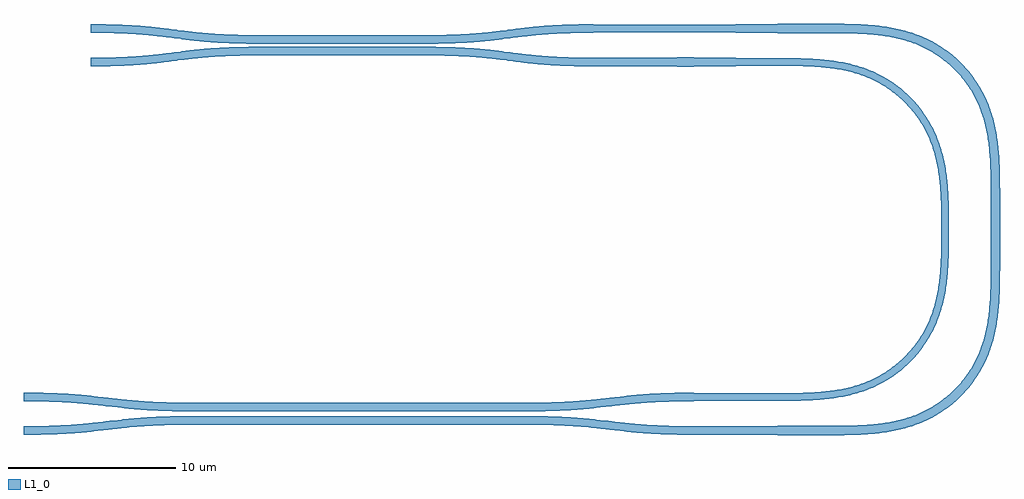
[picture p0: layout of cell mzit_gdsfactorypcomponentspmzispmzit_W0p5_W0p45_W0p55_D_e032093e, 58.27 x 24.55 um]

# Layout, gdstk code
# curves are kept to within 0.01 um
from math import pi, radians
import gdstk
lib = gdstk.Library(unit=1e-6, precision=1e-09)
def R(c, l, rs):  # rectangles x0, y0, x1, y1
    for r in rs: c.add(gdstk.rectangle(r[:2], r[2:], *l))
def P(c, l, *ps):  # polygons
    for p in ps: c.add(gdstk.Polygon(p, *l))
L1_0 = (1, 0)

coupler_gdsfactorypcompo = lib.new_cell('coupler_gdsfactorypcomponentspcouplerspcoupler_G0p3_L20_ef80439e')
P(coupler_gdsfactorypcompo, L1_0, [(-10,-0.85),(-10,-0.35),(-8.622,-0.333),(-7.391,-0.28),(-6.209,-0.185),(-4.09,0.057),(-3.223,0.138),(-1.876,0.217),(-0.59,0.247),(20.152,0.25),(21.135,0.239),(22.431,0.191),(23.406,0.123),(26.209,-0.185),(27.193,-0.267),(28.622,-0.333),(30,-0.35),(30,-0.85),(28.735,-0.836),(27.361,-0.779),(26.244,-0.691),(23.956,-0.432),(22.903,-0.34),(21.501,-0.271),(20.151,-0.25),(-0.151,-0.25),(-1.125,-0.261),(-2.298,-0.303),(-3.274,-0.368),(-4.117,-0.449),(-6.075,-0.674),(-7.16,-0.766),(-8.484,-0.829)],
  [(-0.152,0.55),(-1.876,0.583),(-3.035,0.648),(-4.09,0.743),(-6.209,0.985),(-7.391,1.08),(-8.622,1.133),(-10,1.15),(-10,1.65),(-8.735,1.636),(-7.361,1.579),(-6.244,1.491),(-3.956,1.232),(-2.903,1.14),(-1.501,1.071),(-0.151,1.05),(20.151,1.05),(21.125,1.061),(22.298,1.103),(23.274,1.168),(24.117,1.249),(26.075,1.474),(27.16,1.566),(28.484,1.629),(30,1.65),(30,1.15),(28.622,1.133),(27.193,1.067),(26.044,0.968),(23.583,0.693),(22.639,0.621),(21.876,0.583),(20.152,0.55)])

taper_gdsfactorypcompone = lib.new_cell('taper_gdsfactorypcomponentsptapersptaper_L5_W0p5_W0p45__69eccf19')
P(taper_gdsfactorypcompone, L1_0, [(0,-0.25),(0,0.25),(5,0.225),(5,-0.225)])

bend_euler_gdsfactorypco = lib.new_cell('bend_euler_gdsfactorypcomponentspbendspbend_euler_RNone_ca983cd9')
P(bend_euler_gdsfactorypco, L1_0, [(0,-0.225),(0,0.225),(1.656,0.244),(2.34,0.28),(3.019,0.344),(3.558,0.421),(4.09,0.525),(4.613,0.659),(4.998,0.782),(5.375,0.926),(5.742,1.091),(6.099,1.277),(6.444,1.484),(6.991,1.873),(7.299,2.131),(7.592,2.408),(7.869,2.701),(8.127,3.009),(8.516,3.556),(8.723,3.901),(8.909,4.258),(9.074,4.625),(9.218,5.002),(9.341,5.387),(9.475,5.91),(9.579,6.442),(9.656,6.981),(9.72,7.66),(9.756,8.344),(9.775,10),(10.225,10),(10.21,8.468),(10.178,7.768),(10.133,7.208),(9.999,6.229),(9.882,5.673),(9.773,5.261),(9.643,4.854),(9.434,4.322),(9.25,3.934),(9.044,3.557),(8.817,3.194),(8.568,2.844),(8.299,2.51),(7.911,2.089),(7.49,1.701),(7.156,1.432),(6.806,1.183),(6.443,0.956),(6.066,0.75),(5.678,0.566),(5.146,0.357),(4.739,0.227),(4.327,0.118),(3.771,0.001),(2.792,-0.133),(2.232,-0.178),(1.532,-0.21)])

c_taper_gdsfactorypcompone = lib.new_cell('taper_gdsfactorypcomponentsptapersptaper_L5_W0p45_W0p55_0c13ccff')
P(c_taper_gdsfactorypcompone, L1_0, [(5,-0.275),(0,-0.225),(0,0.225),(5,0.275)])

straight_gdsfactorypcomp = lib.new_cell('straight_gdsfactorypcomponentspwaveguidespstraight_L1_N_5fbfa602')
R(straight_gdsfactorypcomp, L1_0, [(0,-0.275,1,0.275)])

c_taper_gdsfactorypcompone_ = lib.new_cell('taper_gdsfactorypcomponentsptapersptaper_L5_W0p55_W0p5__e1c8a87b')
P(c_taper_gdsfactorypcompone_, L1_0, [(0,-0.275),(0,0.275),(5,0.25),(5,-0.25)])

c_taper_gdsfactorypcompone__ = lib.new_cell('taper_gdsfactorypcomponentsptapersptaper_L5_W0p5_W0p55__7fca8cd1')
P(c_taper_gdsfactorypcompone__, L1_0, [(5,-0.275),(0,-0.25),(0,0.25),(5,0.275)])

c_straight_gdsfactorypcomp = lib.new_cell('straight_gdsfactorypcomponentspwaveguidespstraight_L3_N_7ef1834c')
R(c_straight_gdsfactorypcomp, L1_0, [(0,-0.275,3,0.275)])

c_bend_euler_gdsfactorypco = lib.new_cell('bend_euler_gdsfactorypcomponentspbendspbend_euler_RNone_d127dd23')
P(c_bend_euler_gdsfactorypco, L1_0, [(0,-0.275),(0,0.275),(1.654,0.294),(2.336,0.33),(2.878,0.378),(3.549,0.47),(4.079,0.574),(4.599,0.707),(5.107,0.875),(5.478,1.024),(5.839,1.195),(6.417,1.526),(6.96,1.912),(7.266,2.169),(7.557,2.443),(7.831,2.734),(8.088,3.04),(8.474,3.583),(8.805,4.161),(8.976,4.522),(9.125,4.893),(9.293,5.401),(9.426,5.921),(9.53,6.451),(9.622,7.122),(9.67,7.664),(9.706,8.346),(9.725,10),(10.275,10),(10.26,8.467),(10.228,7.765),(10.183,7.203),(10.116,6.641),(10.048,6.22),(9.931,5.662),(9.821,5.247),(9.69,4.837),(9.48,4.302),(9.295,3.911),(9.088,3.532),(8.777,3.047),(8.52,2.7),(8.242,2.368),(7.946,2.054),(7.632,1.758),(7.3,1.48),(6.953,1.223),(6.468,0.912),(6.089,0.705),(5.698,0.52),(5.163,0.31),(4.753,0.179),(4.338,0.069),(3.78,-0.048),(3.359,-0.116),(2.797,-0.183),(2.235,-0.228),(1.533,-0.26)])

c_straight_gdsfactorypcomp_ = lib.new_cell('straight_gdsfactorypcomponentspwaveguidespstraight_L4_N_82fcb63a')
R(c_straight_gdsfactorypcomp_, L1_0, [(0,-0.275,4,0.275)])

c_taper_gdsfactorypcompone___ = lib.new_cell('taper_gdsfactorypcomponentsptapersptaper_L5_W0p55_W0p45_5c6a2317')
P(c_taper_gdsfactorypcompone___, L1_0, [(0,-0.275),(0,0.275),(5,0.225),(5,-0.225)])

c_straight_gdsfactorypcomp__ = lib.new_cell('straight_gdsfactorypcomponentspwaveguidespstraight_L1_N_8f87aff2')
R(c_straight_gdsfactorypcomp__, L1_0, [(0,-0.225,1,0.225)])

c_taper_gdsfactorypcompone____ = lib.new_cell('taper_gdsfactorypcomponentsptapersptaper_L5_W0p45_W0p5__c017326a')
P(c_taper_gdsfactorypcompone____, L1_0, [(5,-0.25),(0,-0.225),(0,0.225),(5,0.25)])

c_coupler_gdsfactorypcompo = lib.new_cell('coupler_gdsfactorypcomponentspcouplerspcoupler_G0p2_L10_daa28717')
P(c_coupler_gdsfactorypcompo, L1_0, [(-10,-0.9),(-10,-0.4),(-8.748,-0.385),(-7.293,-0.317),(-6.046,-0.203),(-4.334,0.012),(-3.317,0.12),(-2.216,0.198),(-0.869,0.243),(10.152,0.25),(11.392,0.231),(12.432,0.186),(13.408,0.112),(14.334,0.012),(15.965,-0.194),(17.098,-0.303),(18.379,-0.373),(20,-0.4),(20,-0.9),(18.608,-0.881),(17.36,-0.823),(16.157,-0.718),(14.035,-0.456),(12.902,-0.347),(11.739,-0.281),(10.151,-0.25),(-0.151,-0.25),(-1.378,-0.269),(-2.402,-0.313),(-3.449,-0.394),(-5.99,-0.7),(-7.158,-0.809),(-8.483,-0.877)],
  [(-0.152,0.45),(-1.759,0.481),(-3.036,0.556),(-4.01,0.65),(-6.294,0.93),(-7.393,1.024),(-8.748,1.085),(-10,1.1),(-10,1.6),(-8.608,1.581),(-7.36,1.523),(-6.157,1.418),(-4.035,1.156),(-2.902,1.047),(-1.739,0.981),(-0.151,0.95),(10.151,0.95),(11.378,0.969),(12.402,1.013),(13.449,1.094),(15.99,1.4),(17.158,1.509),(18.483,1.577),(20,1.6),(20,1.1),(18.379,1.073),(17.098,1.003),(15.965,0.894),(13.758,0.623),(12.432,0.514),(11.392,0.469),(10.152,0.45)])

mzit_gdsfactorypcomponen = lib.new_cell('mzit_gdsfactorypcomponentspmzispmzit_W0p5_W0p45_W0p55_D_e032093e')
mzit_gdsfactorypcomponen.add(gdstk.Reference(coupler_gdsfactorypcompo, (0,0)))
mzit_gdsfactorypcomponen.add(gdstk.Reference(taper_gdsfactorypcompone, (30,1.4)))
mzit_gdsfactorypcomponen.add(gdstk.Reference(bend_euler_gdsfactorypco, (45,11.4), rotation=pi/2))
mzit_gdsfactorypcomponen.add(gdstk.Reference(bend_euler_gdsfactorypco, (35,1.4)))
mzit_gdsfactorypcomponen.add(gdstk.Reference(c_taper_gdsfactorypcompone, (35,21.4), rotation=pi))
mzit_gdsfactorypcomponen.add(gdstk.Reference(straight_gdsfactorypcomp, (30,21.4), rotation=pi))
mzit_gdsfactorypcomponen.add(gdstk.Reference(c_taper_gdsfactorypcompone_, (29,21.4), rotation=pi))
mzit_gdsfactorypcomponen.add(gdstk.Reference(c_taper_gdsfactorypcompone__, (30,-0.6)))
mzit_gdsfactorypcomponen.add(gdstk.Reference(c_straight_gdsfactorypcomp, (35,-0.6)))
mzit_gdsfactorypcomponen.add(gdstk.Reference(c_bend_euler_gdsfactorypco, (48,13.4), rotation=pi/2))
mzit_gdsfactorypcomponen.add(gdstk.Reference(c_bend_euler_gdsfactorypco, (38,-0.6)))
mzit_gdsfactorypcomponen.add(gdstk.Reference(c_straight_gdsfactorypcomp_, (48,9.4), rotation=pi/2))
mzit_gdsfactorypcomponen.add(gdstk.Reference(c_straight_gdsfactorypcomp, (38,23.4), rotation=pi))
mzit_gdsfactorypcomponen.add(gdstk.Reference(c_taper_gdsfactorypcompone___, (35,23.4), rotation=pi))
mzit_gdsfactorypcomponen.add(gdstk.Reference(c_straight_gdsfactorypcomp__, (30,23.4), rotation=pi))
mzit_gdsfactorypcomponen.add(gdstk.Reference(c_taper_gdsfactorypcompone____, (29,23.4), rotation=pi))
mzit_gdsfactorypcomponen.add(gdstk.Reference(c_coupler_gdsfactorypcompo, (4,22.05)))

lib.write_gds('mzit_gdsfactorypcomponentspmzispmzit_W0p5_W0p45_W0p55_D_e032093e.gds')
